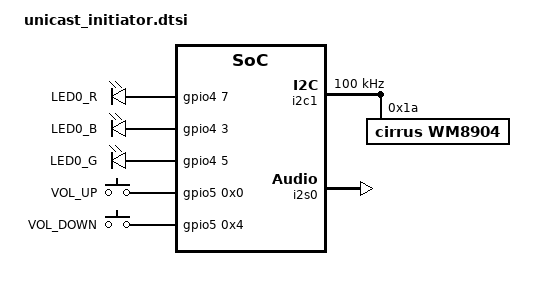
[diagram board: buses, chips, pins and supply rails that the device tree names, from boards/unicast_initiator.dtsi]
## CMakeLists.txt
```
# Copyright (C) 2025 Alif Semiconductor - All Rights Reserved.
# Use, distribution and modification of this code is permitted under the
# terms stated in the Alif Semiconductor Software License Agreement
#
# You should have received a copy of the Alif Semiconductor Software
# License Agreement with this file. If not, please write to:
# contact@alifsemi.com, or visit: https://alifsemi.com/license

cmake_minimum_required(VERSION 3.20.0)
find_package(Zephyr REQUIRED HINTS $ENV{ZEPHYR_BASE})
project(le_audio_unicast_source)

target_sources(app PRIVATE
    src/main.c
    src/unicast_source.c
    src/storage.c
    src/audio_datapath.c
)
```

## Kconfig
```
# Copyright (C) 2025 Alif Semiconductor - All Rights Reserved.
# Use, distribution and modification of this code is permitted under the
# terms stated in the Alif Semiconductor Software License Agreement
#
# You should have received a copy of the Alif Semiconductor Software
# License Agreement with this file. If not, please write to:
# contact@alifsemi.com, or visit: https://alifsemi.com/license

menu "Alif Bluetooth LE Audio Unicast Source"

config BLE_DEVICE_NAME
	string "BLE device name"
	default "ALIF_CIS_SRC"
	help
	  Device name

config PERIPHERAL_NAME
	string "LE audio peripheral name"
	default "ALIF_CIS_SINK"
	help
	  Audio sink peripheral to be connected to

config LE_AUDIO_PRESENTATION_DELAY_MS
	int "Presentation delay in ms"
	default 10
	help
	  LE audio preferred target presentation delay in ms. This is only the
	  target value and the final presentation delay may be different due
	  to the reported min and max values by the acceptor (server).

choice
	prompt "Choose audio target latency"
	default LE_AUDIO_LATENCY_RELIABLE

	config LE_AUDIO_LATENCY_LOWER
	bool "Lower latency"
	config LE_AUDIO_LATENCY_BALANCED
	bool "Balanced latency and reliability"
	config LE_AUDIO_LATENCY_RELIABLE
	bool "Reliable latency"
endchoice

config LE_AUDIO_TARGET_LATENCY
	int
	range 1 3
	default 1 if LE_AUDIO_LATENCY_LOWER
	default 2 if LE_AUDIO_LATENCY_BALANCED
	default 3 if LE_AUDIO_LATENCY_RELIABLE

choice
	prompt "Choose audio configuration"
	default LE_AUDIO_UNIDIRECTIONAL

	config LE_AUDIO_UNIDIRECTIONAL
	bool "Unidirectional"
	config LE_AUDIO_BIDIRECTIONAL
	bool "Bidirectional"
endchoice

config BONDING_ALLOWED
	bool "Allow bonding"
	default y

config NUMBER_OF_CLIENTS
	int "Define the number of clients"
	range 1 4
	default 2
	help
	  Number of clients to be connected

menu "Logging"

module = MAIN
module-str = main
source "subsys/logging/Kconfig.template.log_config"

module = UNICAST_SCAN
module-str = unicast_scan
source "subsys/logging/Kconfig.template.log_config"

module = UNICAST_SOURCE
module-str = unicast_source
source "subsys/logging/Kconfig.template.log_config"

module = STORAGE
module-str = storage
source "subsys/logging/Kconfig.template.log_config"

endmenu # "Logging"

endmenu # "Alif Bluetooth LE Audio Unicast Source"

source "Kconfig.zephyr"
```

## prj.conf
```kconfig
# Copyright (C) 2025 Alif Semiconductor - All Rights Reserved.
# Use, distribution and modification of this code is permitted under the
# terms stated in the Alif Semiconductor Software License Agreement
#
# You should have received a copy of the Alif Semiconductor Software
# License Agreement with this file. If not, please write to:
# contact@alifsemi.com, or visit: https://alifsemi.com/license

CONFIG_BT=y
CONFIG_BT_CUSTOM=y
CONFIG_ALIF_ROM_LC3_CODEC=y
CONFIG_ALIF_BLE_AUDIO=y

CONFIG_LOG=y
CONFIG_ASSERT=y

CONFIG_PRESENTATION_COMPENSATION_DIRECTION_SOURCE=y

# Should be replaced by TRNG when support is available
CONFIG_ENTROPY_GENERATOR=y
CONFIG_TEST_RANDOM_GENERATOR=y

# malloc support is required, simplest way is using newlib although it would also be possible to
# configure heap for picolibc
CONFIG_NEWLIB_LIBC=y

# Driver support for audio
CONFIG_I2S=y
CONFIG_DMA=y

# Audio driver support specific to B1 DK board.
# Audio codec is WM8904, connected via I2C.
CONFIG_I2C=y
CONFIG_WM8904=y
CONFIG_AUDIO=y
CONFIG_AUDIO_CODEC=y
CONFIG_I2C_INIT_PRIORITY=50
CONFIG_WM8904_INIT_PRIORITY=53

# This is specific to whichever clock you use. Currently presentation layer is
# commented out so this does nothing
CONFIG_AUDIO_CLOCK_DIVIDER=1

# Debug
CONFIG_USE_SEGGER_RTT=y
CONFIG_RTT_CONSOLE=y

CONFIG_MAIN_STACK_SIZE=8192
CONFIG_ISR_STACK_SIZE=4096
CONFIG_PRIVILEGED_STACK_SIZE=2048
CONFIG_IDLE_STACK_SIZE=1024
CONFIG_BOOT_BANNER=n
CONFIG_ALIF_BLE_HOST_ADDL_PRF_HEAPSIZE=10240
CONFIG_ALIF_BLE_HOST_ADDL_ENV_HEAPSIZE=8192

# Enable NVS as the backend for Settings
CONFIG_NVS=y
# Enable the Settings subsystem
CONFIG_SETTINGS=y
CONFIG_SETTINGS_NVS=y
CONFIG_SETTINGS_RUNTIME=y
CONFIG_MPU_ALLOW_FLASH_WRITE=y
CONFIG_FLASH=y
CONFIG_FLASH_MAP=y

CONFIG_LE_AUDIO_LATENCY_RELIABLE=y
CONFIG_LE_AUDIO_PRESENTATION_DELAY_MS=30

# For MRAM(XIP) builds with LLVM exception tables cause linker errors as part of the code is placed to TCM
CONFIG_CPP_EXCEPTIONS=n
```

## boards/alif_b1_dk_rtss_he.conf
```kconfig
# Copyright (C) 2025 Alif Semiconductor - All Rights Reserved.
# Use, distribution and modification of this code is permitted under the
# terms stated in the Alif Semiconductor Software License Agreement
#
# You should have received a copy of the Alif Semiconductor Software
# License Agreement with this file. If not, please write to:
# contact@alifsemi.com, or visit: https://alifsemi.com/license

# Audio driver support specific to B1 DK board.
# Audio codec is WM8904, connected via I2C.
CONFIG_I2C=y
CONFIG_WM8904=y

CONFIG_I2C_INIT_PRIORITY=50
CONFIG_I2C_TCA954X_ROOT_INIT_PRIO=51
CONFIG_I2C_TCA954X_CHANNEL_INIT_PRIO=52
CONFIG_WM8904_INIT_PRIORITY=53

# This is specific to whichever clock you use. Currently presentation layer is
# commented out so this does nothing
CONFIG_AUDIO_CLOCK_DIVIDER=1

# Debug
CONFIG_USE_SEGGER_RTT=y
CONFIG_RTT_CONSOLE=y
```

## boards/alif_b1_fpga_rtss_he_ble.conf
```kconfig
# Copyright (C) 2025 Alif Semiconductor - All Rights Reserved.
# Use, distribution and modification of this code is permitted under the
# terms stated in the Alif Semiconductor Software License Agreement
#
# You should have received a copy of the Alif Semiconductor Software
# License Agreement with this file. If not, please write to:
# contact@alifsemi.com, or visit: https://alifsemi.com/license

# Audio driver support specific to B1 FPGA board.
# Audio codec is WM8904, connected via I2C.
# Audio clock is provided by SI570, connected via I2C using TCA9548 I2C mux.
CONFIG_I2C=y
CONFIG_WM8904=y
CONFIG_SI570=y

CONFIG_I2C_INIT_PRIORITY=50
CONFIG_I2C_TCA954X_ROOT_INIT_PRIO=51
CONFIG_I2C_TCA954X_CHANNEL_INIT_PRIO=52
CONFIG_WM8904_INIT_PRIORITY=53

# SI570 clock output is passed through a fixed /8 divider to create MCLK signal
CONFIG_AUDIO_CLOCK_DIVIDER=8

# 24 MHz FPGA bitstream is not fast enough to encode stereo
CONFIG_BROADCAST_SOURCE_MONO=y

# Uses ROM code version 1.2
CONFIG_ALIF_BLE_ROM_IMAGE_V1_2=y

# Debug
CONFIG_USE_SEGGER_RTT=y
CONFIG_RTT_CONSOLE=y
```

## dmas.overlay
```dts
/* Copyright (C) 2025 Alif Semiconductor - All Rights Reserved.
 * Use, distribution and modification of this code is permitted under the
 * terms stated in the Alif Semiconductor Software License Agreement
 *
 * You should have received a copy of the Alif Semiconductor Software
 * License Agreement with this file. If not, please write to:
 * contact@alifsemi.com, or visit: https://alifsemi.com/license
 *
 */

#define I2S0_DMA_RX_CH  2
#define I2S0_DMA_RX_REQ 24
#define I2S0_DMA_TX_CH  3
#define I2S0_DMA_TX_REQ 28

/* DMA is not enabled by default due to issue in
 * Zephyr's PL330 driver (mutex)
 */
&i2s0 {
	dmas = <&dma2 I2S0_DMA_RX_CH I2S0_DMA_RX_REQ>,
	       <&dma2 I2S0_DMA_TX_CH I2S0_DMA_TX_REQ>;
	dma-names = "rxdma", "txdma";
};
```

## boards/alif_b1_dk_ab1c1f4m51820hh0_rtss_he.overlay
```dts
/* Copyright (C) 2025 Alif Semiconductor - All Rights Reserved.
 * Use, distribution and modification of this code is permitted under the
 * terms stated in the Alif Semiconductor Software License Agreement
 *
 * You should have received a copy of the Alif Semiconductor Software
 * License Agreement with this file. If not, please write to:
 * contact@alifsemi.com, or visit: https://alifsemi.com/license
 *
 */

#include "unicast_initiator.dtsi"
```

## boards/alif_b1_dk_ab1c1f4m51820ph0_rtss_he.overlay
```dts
/* Copyright (C) 2025 Alif Semiconductor - All Rights Reserved.
 * Use, distribution and modification of this code is permitted under the
 * terms stated in the Alif Semiconductor Software License Agreement
 *
 * You should have received a copy of the Alif Semiconductor Software
 * License Agreement with this file. If not, please write to:
 * contact@alifsemi.com, or visit: https://alifsemi.com/license
 *
 */

#include "unicast_initiator.dtsi"
```

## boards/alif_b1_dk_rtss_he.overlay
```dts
/* Copyright (C) 2025 Alif Semiconductor - All Rights Reserved.
 * Use, distribution and modification of this code is permitted under the
 * terms stated in the Alif Semiconductor Software License Agreement
 *
 * You should have received a copy of the Alif Semiconductor Software
 * License Agreement with this file. If not, please write to:
 * contact@alifsemi.com, or visit: https://alifsemi.com/license
 *
 */

#include <dt-bindings/pinctrl/balletto-pinctrl.h>
#include <dt-bindings/i2c/i2c.h>
#include <dt-bindings/gpio/gpio.h>

#define I2S0_IRQ_NUM  141
#define I2S0_IRQ_PRIO 3

/ {
	aliases {
		/delete-property/ sw0;

		audio-codec = &wm8904;
		i2s-bus = &i2s0;
	};

	/* /delete-node/ buttons; */

	leds {
		compatible = "gpio-leds";
		led_red: led_0 {
			gpios = <&gpio4 7 0>;
			label = "LED0_R";
		};
		led_blue: led_1 {
			gpios = <&gpio4 3 0>;
			label = "LED0_B";
		};
		led_green: led_2 {
			gpios = <&gpio4 5 0>;
			label = "LED0_G";
		};
	};
};

&dma2 {
	status = "okay";
};

&i2c1 {
	clock-frequency = <I2C_BITRATE_STANDARD>;
	status = "okay";

	wm8904: wm8904@1a {
		compatible = "cirrus,wm8904";
		reg = <0x1a>;
		status = "okay";
	};
};

&i2s0 {
	/delete-property/ clock-frequency;
	/delete-property/ driver-instance;
	compatible = "alif,i2s-sync";
	interrupts = <I2S0_IRQ_NUM I2S0_IRQ_PRIO>;
	bit-depth = <16>;
	sample-rate = <48000>;
	status = "okay";
};

&pinctrl_i2c1 {
	group0 {
		pinmux = <PIN_P7_2__I2C1_SDA_C>,
			 <PIN_P7_3__I2C1_SCL_C>;
	};
};

&pinctrl_i2s0 {
	group0 {
		pinmux = <PIN_P2_4__I2S0_SDI_B>,
			 <PIN_P2_5__I2S0_SDO_B>,
			 <PIN_P1_7__I2S0_WS_A>,
			 <PIN_P1_6__I2S0_SCLK_A>;
	};
};

/* Jouystick middle button */
&pinctrl_gpio5 {
	group1 {
		pinmux = <PIN_P5_7__GPIO>;
		driver-state-control = <1>;
		read-enable = < 0x1 >;
	};
};

/* LED GPIOs */
&pinctrl_gpio4 {
	group1 {
		pinmux = <PIN_P4_3__GPIO>,
			 <PIN_P4_5__GPIO>,
			 <PIN_P4_7__GPIO>;
		read-enable = < 0x0 >;
		drive-strength = < 8 >;
	};
};

/* Disable unnecessary nodes */
&uart_ahi {
	status = "disabled";
};

&i2s1 {
	status = "disabled";
};
```

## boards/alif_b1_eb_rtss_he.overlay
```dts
/* Copyright (C) Alif Semiconductor - All Rights Reserved.
 * Use, distribution and modification of this code is permitted under the
 * terms stated in the Alif Semiconductor Software License Agreement
 *
 * You should have received a copy of the Alif Semiconductor Software
 * License Agreement with this file. If not, please write to:
 * contact@alifsemi.com, or visit: https://alifsemi.com/license
 *
 */

#include <dt-bindings/pinctrl/balletto-pinctrl.h>
#include <dt-bindings/i2c/i2c.h>
#include <dt-bindings/gpio/gpio.h>

#define I2S0_IRQ_NUM  141
#define I2S0_IRQ_PRIO 3

/ {
	aliases {
		/delete-property/ sw0;

		audio-codec = &wm8904;
		i2s-bus = &i2s0;
	};

	/* /delete-node/ buttons; */

	leds {
		compatible = "gpio-leds";
		led_red: led_0 {
			gpios = <&gpio4 7 0>;
			label = "LED0_R";
		};
		led_blue: led_1 {
			gpios = <&gpio4 3 0>;
			label = "LED0_B";
		};
		led_green: led_2 {
			gpios = <&gpio4 5 0>;
			label = "LED0_G";
		};
	};
};

&dma2 {
	status = "okay";
};

&i2c0 {
	clock-frequency = <I2C_BITRATE_STANDARD>;
	status = "okay";

	wm8904: wm8904@1a {
		compatible = "cirrus,wm8904";
		reg = <0x1a>;
		status = "okay";
	};
};

&i2s0 {
	/delete-property/ clock-frequency;
	/delete-property/ driver_instance;
	compatible = "alif,i2s-sync";
	interrupts = <I2S0_IRQ_NUM I2S0_IRQ_PRIO>;
	bit-depth = <16>;
	sample-rate = <48000>;
	status = "okay";
};

&pinctrl_i2c0 {
	group0 {
		pinmux = <PIN_P7_0__I2C0_SDA_C>,
			 <PIN_P7_1__I2C0_SCL_C>;
	};
};

&pinctrl_i2s0 {
	group0 {
		pinmux = <PIN_P8_0__I2S0_SDI_C>,
			 <PIN_P8_1__I2S0_SDO_C>,
			 <PIN_P8_3__I2S0_WS_C>,
			 <PIN_P8_2__I2S0_SCLK_C>;
	};
};

/* Jouystick middle button */
&pinctrl_gpio5 {
	group1 {
		pinmux = <PIN_P5_7__GPIO>;
		driver_state_control = <1>;
		read_enable = < 0x1 >;
	};
};

/* LED GPIOs */
&pinctrl_gpio4 {
	group1 {
		pinmux = <PIN_P4_3__GPIO>,
			 <PIN_P4_5__GPIO>,
			 <PIN_P4_7__GPIO>;
		read_enable = < 0x0 >;
		drive_strength = < 8 >;
	};
};

/* Disable unnecessary nodes */
&i2s1 {
	status = "disabled";
};

&uart_ahi {
	status = "disabled";
};
```

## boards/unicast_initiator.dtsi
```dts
/* Copyright (C) Alif Semiconductor - All Rights Reserved.
 * Use, distribution and modification of this code is permitted under the
 * terms stated in the Alif Semiconductor Software License Agreement
 *
 * You should have received a copy of the Alif Semiconductor Software
 * License Agreement with this file. If not, please write to:
 * contact@alifsemi.com, or visit: https://alifsemi.com/license
 *
 */

#include <dt-bindings/pinctrl/balletto-pinctrl.h>
#include <dt-bindings/i2c/i2c.h>
#include <dt-bindings/gpio/gpio.h>

#define I2S0_IRQ_NUM  141
#define I2S0_IRQ_PRIO 3

/ {
	aliases {
		/delete-property/ sw0;

		audio-codec = &wm8904;
		i2s-bus = &i2s0;
	};

	leds {
		compatible = "gpio-leds";
		led_red: led_0 {
			gpios = <&gpio4 7 0>;
			label = "LED0_R";
		};
		led_blue: led_1 {
			gpios = <&gpio4 3 0>;
			label = "LED0_B";
		};
		led_green: led_2 {
			gpios = <&gpio4 5 0>;
			label = "LED0_G";
		};
	};

	buttons {
		/* JOY_SW1 */
		button_up: button_up {
			gpios = < &gpio5 0x0 0x0 >;
			label = "VOL_UP";
		};
		/* JOY_SW2 */
		button_down: button_down {
			gpios = < &gpio5 0x4 0x0 >;
			label = "VOL_DOWN";
		};
	};
};

&dma2 {
	status = "okay";
};

&i2c1 {
	clock-frequency = <I2C_BITRATE_STANDARD>;
	status = "okay";

	wm8904: wm8904@1a {
		compatible = "cirrus,wm8904";
		reg = <0x1a>;
		status = "okay";
	};
};

&i2s0 {
	/delete-property/ clock-frequency;
	/delete-property/ driver-instance;
	compatible = "alif,i2s-sync";
	interrupts = <I2S0_IRQ_NUM I2S0_IRQ_PRIO>;
	bit-depth = <16>;
	sample-rate = <48000>;
	status = "okay";
};

&pinctrl_i2c1 {
	group0 {
		pinmux = <PIN_P7_2__I2C1_SDA_C>,
			 <PIN_P7_3__I2C1_SCL_C>;
	};
};

&pinctrl_i2s0 {
	group0 {
		pinmux = <PIN_P2_4__I2S0_SDI_B>,
			 <PIN_P2_5__I2S0_SDO_B>,
			 <PIN_P1_7__I2S0_WS_A>,
			 <PIN_P1_6__I2S0_SCLK_A>;
	};
};

/* Configure joystick buttons */
&pinctrl_gpio5 {
	group1 {
		pinmux = <PIN_P5_0__GPIO>,
			 <PIN_P5_4__GPIO>,
			 <PIN_P5_7__GPIO>;
		/* enable pull-up */
		driver-state-control = <1>;
		read-enable = < 0x1 >;
	};
};

/* LED GPIOs */
&pinctrl_gpio4 {
	group1 {
		pinmux = <PIN_P4_3__GPIO>,
			 <PIN_P4_5__GPIO>,
			 <PIN_P4_7__GPIO>;
		read-enable = < 0x0 >;
		drive-strength = < 8 >;
	};
};

/* Disable unnecessary nodes */
&uart_ahi {
	status = "disabled";
};

&i2s1 {
	status = "disabled";
};
```

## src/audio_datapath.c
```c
/* Copyright (C) 2025 Alif Semiconductor - All Rights Reserved.
 * Use, distribution and modification of this code is permitted under the
 * terms stated in the Alif Semiconductor Software License Agreement
 *
 * You should have received a copy of the Alif Semiconductor Software
 * License Agreement with this file. If not, please write to:
 * contact@alifsemi.com, or visit: https://alifsemi.com/license
 */

#include <zephyr/types.h>
#include <zephyr/device.h>
#include <zephyr/logging/log.h>
#include <zephyr/audio/codec.h>
#include "bluetooth/le_audio/audio_decoder.h"
#include "bluetooth/le_audio/audio_encoder.h"

#include "audio_datapath.h"

LOG_MODULE_REGISTER(audio_datapath, CONFIG_BLE_AUDIO_LOG_LEVEL);

struct audio_datapath {
	const struct device *i2s_dev;
	struct audio_encoder *encoder;
	struct audio_decoder *decoder;
};

static struct audio_datapath env;

/* Initialisation to perform pre-main */
static int unicast_audio_path_init(void)
{
	int ret;

	/* Check all devices are ready */
	ret = device_is_ready(DEVICE_DT_GET(I2S_NODE));
	if (!ret) {
		LOG_ERR("I2S is not ready");
		return -1;
	}

	ret = device_is_ready(DEVICE_DT_GET(CODEC_NODE));
	if (!ret) {
		LOG_ERR("Audio codec is not ready");
		return -1;
	}

	return 0;
}
SYS_INIT(unicast_audio_path_init, APPLICATION, 0);

#if ENCODER_DEBUG
__ramfunc static void on_encoder_frame_complete(void *param, uint32_t timestamp, uint16_t sdu_seq)
{
	if ((sdu_seq % 128) == 0) {
		LOG_INF("SDU sequence number: %u", sdu_seq);
	}
}
#endif

#if DECODER_DEBUG
__ramfunc static void print_sdus(void *context, uint32_t timestamp, uint16_t sdu_seq)
{
	static uint16_t last_sdu;

	if (last_sdu && (last_sdu + 1 < sdu_seq)) {
		LOG_INF("SDU sequence number jumps, last: %u, now: %u", last_sdu, sdu_seq);
	}
	last_sdu = sdu_seq;

	if (0 == (sdu_seq % 128)) {
		LOG_INF("SDU sequence number %u", sdu_seq);
	}
}
#endif

int audio_datapath_create_source(struct audio_datapath_config const *const cfg)
{
	if (cfg == NULL) {
		return -EINVAL;
	}

	if (env.encoder) {
		/* TODO reconfigure encoder? */

		return -EALREADY;
	}

	int ret;
	struct audio_encoder_params const enc_params = {
		.i2s_dev = DEVICE_DT_GET(I2S_NODE),
		.frame_duration_us = cfg->frame_duration_is_10ms ? 10000 : 7500,
		.sampling_rate_hz = cfg->sampling_rate_hz,
		.audio_buffer_len_us = cfg->pres_delay_us,
	};
	/* clang-format off */
	struct audio_codec_cfg codec_cfg = {
		.dai_type = AUDIO_DAI_TYPE_I2S,
		.dai_cfg = {
			.i2s = {
				.word_size = AUDIO_PCM_WIDTH_16_BITS,
				.channels = 2,
				.format = I2S_FMT_DATA_FORMAT_I2S,
				.options = 0,
				.frame_clk_freq = cfg->sampling_rate_hz,
				.mem_slab = NULL,
				.block_size = 0,
				.timeout = 0,
			},
		},
	};
	/* clang-format on */

	/* Configure codec */
	ret = audio_codec_configure(DEVICE_DT_GET(CODEC_NODE), &codec_cfg);
	if (ret) {
		LOG_ERR("Failed to configure source codec. err %d", ret);
		return ret;
	}
	audio_codec_start_output(DEVICE_DT_GET(CODEC_NODE));

	/* Remove old one and create a new */
	env.encoder = audio_encoder_create(&enc_params);
	if (env.encoder == NULL) {
		LOG_ERR("Failed to create audio encoder");
		return -ENOMEM;
	}

#if ENCODER_DEBUG
	ret = audio_encoder_register_cb(env.encoder, on_encoder_frame_complete, NULL);
	if (ret) {
		LOG_ERR("Failed to register encoder cb for stats, err %d", ret);
		return ret;
	}
#endif

	LOG_INF("Source audio datapath created");

	return 0;
}

int audio_datapath_channel_create_source(size_t const octets_per_frame, uint8_t const stream_lid)
{
	int ret = audio_encoder_add_channel(env.encoder, octets_per_frame, stream_lid);

	if (ret) {
		LOG_ERR("Stream %u creation failed. Err %d", stream_lid, ret);
		return ret;
	}
	return 0;
}

int audio_datapath_channel_start_source(uint8_t const stream_lid)
{
	int ret = audio_encoder_start_channel(env.encoder, stream_lid);

	if (ret) {
		LOG_ERR("Stream %u start failed. Err %d", stream_lid, ret);
		return ret;
	}
	return 0;
}

int audio_datapath_channel_stop_source(uint8_t const stream_lid)
{
	int ret = audio_encoder_stop_channel(env.encoder, stream_lid);

	if (ret) {
		LOG_ERR("Stream %u stop failed. Err %d", stream_lid, ret);
		return ret;
	}
	return 0;
}

int audio_datapath_cleanup_source(void)
{
	/* Stop encoder first as it references other modules */
	audio_encoder_delete(env.encoder);
	env.encoder = NULL;

	return 0;
}

int audio_datapath_create_sink(struct audio_datapath_config const *const cfg)
{
	if (!cfg) {
		return -EINVAL;
	}

	if (env.decoder) {
		/* TODO reconfigure decoder? */

		return -EALREADY;
	}

	struct audio_decoder_params const dec_params = {
		.i2s_dev = DEVICE_DT_GET(I2S_NODE),
		.frame_duration_us = cfg->frame_duration_is_10ms ? 10000 : 7500,
		.sampling_rate_hz = cfg->sampling_rate_hz,
		.pres_delay_us = cfg->pres_delay_us,
	};

	env.decoder = audio_decoder_create(&dec_params);

	if (!env.decoder) {
		LOG_ERR("Failed to create audio decoder");
		return -ENOMEM;
	}

#if DECODER_DEBUG
	ret = audio_decoder_register_cb(env.decoder, print_sdus, NULL);
	if (ret != 0) {
		LOG_ERR("Failed to register decoder cb, err %d", ret);
		return ret;
	}
#endif

	LOG_INF("Sink audio datapath created");

	return 0;
}

int audio_datapath_channel_create_sink(size_t const octets_per_frame, uint8_t const stream_lid)
{
	int ret = audio_decoder_add_channel(env.decoder, octets_per_frame, stream_lid);

	if (ret) {
		LOG_ERR("Failed to create stream %u, err %d", stream_lid, ret);
		return ret;
	}

	return 0;
}

int audio_datapath_channel_start_sink(uint8_t const stream_lid)
{
	int ret = audio_decoder_start_channel(env.decoder, stream_lid);

	if (ret) {
		LOG_ERR("Failed to start stream %u, err %d", stream_lid, ret);
		return ret;
	}

	return 0;
}

int audio_datapath_channel_stop_sink(uint8_t const stream_lid)
{
	int ret = audio_decoder_stop_channel(env.decoder, stream_lid);

	if (ret) {
		LOG_ERR("Failed to stop stream %u, err %d", stream_lid, ret);
		return ret;
	}

	return 0;
}

int audio_datapath_cleanup_sink(void)
{
	audio_decoder_delete(env.decoder);
	env.decoder = NULL;

	LOG_INF("Removed sink audio datapath");

	return 0;
}
```

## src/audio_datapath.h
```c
/* Copyright (C) 2025 Alif Semiconductor - All Rights Reserved.
 * Use, distribution and modification of this code is permitted under the
 * terms stated in the Alif Semiconductor Software License Agreement
 *
 * You should have received a copy of the Alif Semiconductor Software
 * License Agreement with this file. If not, please write to:
 * contact@alifsemi.com, or visit: https://alifsemi.com/license
 */

#ifndef _AUDIO_DATAPATH_H
#define _AUDIO_DATAPATH_H

#include <zephyr/types.h>

#define I2S_NODE   DT_ALIAS(i2s_bus)
#define CODEC_NODE DT_ALIAS(audio_codec)

typedef int (*audio_datapath_channel_create_t)(size_t octets_per_frame, uint8_t stream_lid);

typedef int (*audio_datapath_start_stop_channel_t)(uint8_t stream_lid);

/**
 * @brief Audio datapath configuration structure
 *
 * This structure is used to configure the audio datapath
 */
struct audio_datapath_config {
	/** Presentation delay in microseconds */
	uint32_t pres_delay_us;
	/** Sampling rate in Hz */
	uint32_t sampling_rate_hz;
	/** Frame duration is 10ms */
	bool frame_duration_is_10ms;
};

/**
 * @brief Create the audio source datapath
 *
 * This creates and configures all of the required elements to stream audio from Bluetooth LE to I2S
 *
 * @param cfg Desired configuration of the audio datapath
 *
 * @retval 0 if successful
 * @retval Negative error code on failure
 */
int audio_datapath_create_source(struct audio_datapath_config const *cfg);

/**
 * @brief Create the audio source datapath channel
 *
 * @param[in] octets_per_frame Number of data per frame
 * @param[in] stream_lid Stream local ID of the channel to be created
 *
 * @retval 0 if successful
 * @retval Negative error code on failure
 */
int audio_datapath_channel_create_source(size_t octets_per_frame, uint8_t stream_lid);

/**
 * @brief Start the audio source datapath
 *
 * Starts transmission of the first SDU over the ISO datapath,
 * which when transmitted starts off the operation of the rest of
 * the datapath.
 *
 * @retval 0 if successful
 * @retval Negative error code on failure
 */
int audio_datapath_channel_start_source(uint8_t stream_lid);

/**
 * @brief Stop the audio source datapath
 *
 * Stops transmission of the SDUs over the ISO datapath.
 *
 * @retval 0 if successful
 * @retval Negative error code on failure
 */
int audio_datapath_channel_stop_source(uint8_t stream_lid);

/**
 * @brief Clean up the audio source datapath
 *
 * This stops the audio source datapath and cleans up all elements created by
 * audio_datapath_create_source, freeing any allocated memory if necessary. After calling this
 * function, it is possible to create a new audio source datapath again using
 * audio_datapath_create_source.
 *
 * @retval 0 if successful
 * @retval Negative error code on failure
 */
int audio_datapath_cleanup_source(void);

/**
 * @brief Create the audio sink datapath
 *
 * This creates and configures all of the required elements to stream audio from I2S to Bluetooth LE
 *
 * @param cfg Desired configuration of the audio datapath
 *
 * @retval 0 if successful
 * @retval Negative error code on failure
 */
int audio_datapath_create_sink(struct audio_datapath_config const *cfg);

/**
 * @brief Create the audio sink datapath channel
 *
 * @param[in] octets_per_frame Number of data per frame
 * @param[in] ch_index Index of the channel to be created
 *
 * @retval 0 if successful
 * @retval Negative error code on failure
 */
int audio_datapath_channel_create_sink(size_t octets_per_frame, uint8_t ch_index);

/**
 * @brief Start the audio sink datapath channel
 *
 * Starts transmission of the first SDU over the ISO datapath,
 * which when transmitted starts off the operation of the rest of
 * the datapath.
 *
 * @retval 0 if successful
 * @retval Negative error code on failure
 */
int audio_datapath_channel_start_sink(uint8_t stream_lid);

/**
 * @brief Stop the audio sink datapath channel
 *
 * Stops transmission of the SDUs over the ISO datapath.
 *
 * @retval 0 if successful
 * @retval Negative error code on failure
 */
int audio_datapath_channel_stop_sink(uint8_t stream_lid);

/**
 * @brief Clean up the audio sink datapath
 *
 * This stops the audio sink datapath and cleans up all elements created by
 * audio_datapath_create_sink, freeing any allocated memory if necessary. After calling this
 * function, it is possible to create a new audio sink datapath again using
 * audio_datapath_create_sink.
 *
 * @retval 0 if successful
 * @retval Negative error code on failure
 */
int audio_datapath_cleanup_sink(void);

#endif /* _AUDIO_DATAPATH_H */
```

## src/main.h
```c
/* Copyright (C) 2025 Alif Semiconductor - All Rights Reserved.
 * Use, distribution and modification of this code is permitted under the
 * terms stated in the Alif Semiconductor Software License Agreement
 *
 * You should have received a copy of the Alif Semiconductor Software
 * License Agreement with this file. If not, please write to:
 * contact@alifsemi.com, or visit: https://alifsemi.com/license
 */

#ifndef _MAIN_H
#define _MAIN_H

#include "gap.h"

int connect_to_device(const gap_bdaddr_t *p_peer_addr);

#endif /* _MAIN_H */
```

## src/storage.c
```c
/* Copyright (C) 2025 Alif Semiconductor - All Rights Reserved.
 * Use, distribution and modification of this code is permitted under the
 * terms stated in the Alif Semiconductor Software License Agreement
 *
 * You should have received a copy of the Alif Semiconductor Software
 * License Agreement with this file. If not, please write to:
 * contact@alifsemi.com, or visit: https://alifsemi.com/license
 */

#include <zephyr/logging/log.h>
#include <zephyr/settings/settings.h>
#include <stdio.h>
#include "storage.h"

LOG_MODULE_REGISTER(storage, CONFIG_STORAGE_LOG_LEVEL);

struct storage_ctx {
	uint8_t *p_output;
	size_t size;
};

static int settings_direct_loader(const char *const key, size_t const len,
				  settings_read_cb const read_cb, void *cb_arg, void *param)
{
	struct storage_ctx *p_ctx = (struct storage_ctx *)param;

	/* Handle the subtree if it is an exact key match. */
	if (settings_name_next(key, NULL) == 0) {
		ssize_t const cb_len = read_cb(cb_arg, p_ctx->p_output, p_ctx->size);

		if (cb_len != p_ctx->size) {
			LOG_ERR("Unable to read bytes_written from storage");
			return cb_len;
		}
	}

	return 0;
}

int storage_init(void)
{
	int err = settings_subsys_init();

	if (err) {
		LOG_ERR("settings_subsys_init() failed (err %d)", err);
		return err;
	}
	return 0;
}

int storage_store(const char *key, void *data, size_t const size)
{
	int err;
	char key_str[64];

	snprintf(key_str, sizeof(key_str), SETTINGS_BASE "/%s", key);
	err = settings_save_one(key_str, data, size);
	if (err) {
		LOG_ERR("Failed to store %s data (err %d)", key, err);
	}
	return err;
}

int storage_load(const char *key, void *data, size_t const size)
{
	struct storage_ctx ctx = {
		.p_output = data,
		.size = size,
	};
	char key_str[64];

	snprintf(key_str, sizeof(key_str), SETTINGS_BASE "/%s", key);
	return settings_load_subtree_direct(key_str, settings_direct_loader, &ctx);
}
```

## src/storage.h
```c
/* Copyright (C) 2025 Alif Semiconductor - All Rights Reserved.
 * Use, distribution and modification of this code is permitted under the
 * terms stated in the Alif Semiconductor Software License Agreement
 *
 * You should have received a copy of the Alif Semiconductor Software
 * License Agreement with this file. If not, please write to:
 * contact@alifsemi.com, or visit: https://alifsemi.com/license
 */

#ifndef _STORAGE_H
#define _STORAGE_H

#include <stdint.h>

#define SETTINGS_BASE             "uc_central"
#define SETTINGS_NAME_KEYS        "bond_keys"
#define SETTINGS_NAME_BOND_DATA   "bond_data"

/**
 * @brief Stores data in the flash memory.
 *
 * @param key Key string to identify the data.
 * @param data Pointer to the data to store.
 * @param size Size of the data.
 *
 * @return 0 on success, error code otherwise.
 */
int storage_init(void);

/**
 * @brief Stores data in the flash memory.
 *
 * @param key Key string to identify the data.
 * @param index Index of the data to store.
 * @param data Pointer to the data to store.
 * @param size Size of the data.
 *
 * @return 0 on success, error code otherwise.
 */
int storage_store(const char *key, int index, void *data, size_t size);

/**
 * @brief Loads data from the flash memory.
 *
 * @param key Key string to identify the data.
 * @param index Index of the data to load.
 * @param data Pointer to store the loaded data.
 * @param size Size of the data to load.
 *
 * @return 0 on success, error code otherwise.
 */
int storage_load(const char *key, int index, void *data, size_t size);

#endif /* _STORAGE_H */
```

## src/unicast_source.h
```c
/* Copyright (C) 2025 Alif Semiconductor - All Rights Reserved.
 * Use, distribution and modification of this code is permitted under the
 * terms stated in the Alif Semiconductor Software License Agreement
 *
 * You should have received a copy of the Alif Semiconductor Software
 * License Agreement with this file. If not, please write to:
 * contact@alifsemi.com, or visit: https://alifsemi.com/license
 */

#ifndef _UNICAST_SOURCE_H
#define _UNICAST_SOURCE_H

#include <stdint.h>

/**
 * @brief Configure the LE audio unicast source
 *
 * @return 0 on success
 */
int unicast_source_configure(void);

/**
 * @brief Start the service discovery
 *
 * @param con_lid Connection index
 *
 * @return 0 on success
 */
int unicast_source_discover(uint8_t con_lid);

/**
 * @brief Setup the streams for the LE audio unicast source
 *
 * @param con_lid Connection index
 *
 * @return 0 on success
 */
int unicast_setup_streams(uint8_t con_lid);

/**
 * @brief Enable the streams for the LE audio unicast source
 *
 * @param con_lid Connection index
 *
 * @return 0 on success
 */
int unicast_enable_streams(uint8_t con_lid);

/**
 * @brief Volume up all peripherals
 *
 * @return 0 on success
 */
int unicast_volume_up_all(void);

/**
 * @brief Volume down all peripherals
 *
 * @return 0 on success
 */
int unicast_volume_down_all(void);

#endif /* _UNICAST_SOURCE_H */
```
